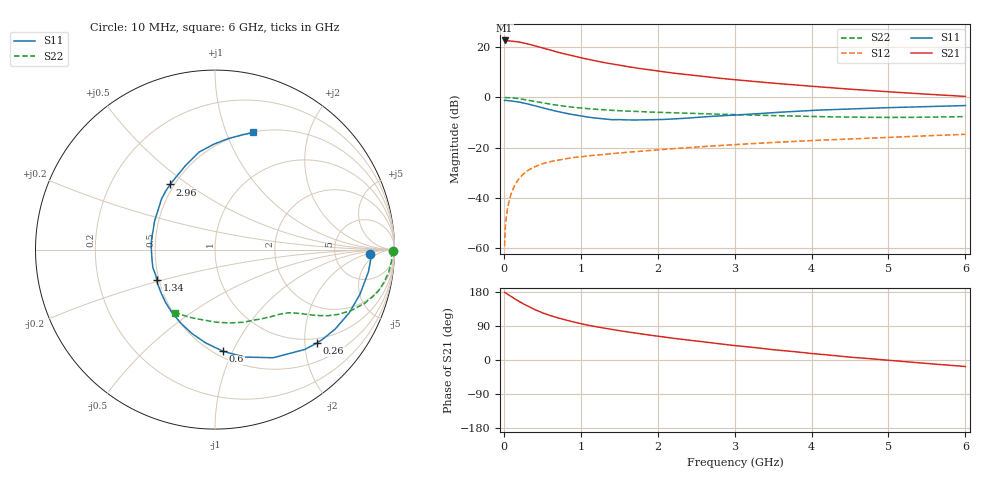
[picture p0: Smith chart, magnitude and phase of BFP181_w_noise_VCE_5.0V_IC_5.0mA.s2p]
! Infineon Technologies  Discrete & RF Semiconductors
! BFP181
! VCE = 5.0 V,  IC =  5.0 mA
! Common Emitter S-Parameters:  Jan 2016
# GHz  S  MA  R  50
!  f  S11  S21  S12  S22
! GHz  MAG  ANG  MAG  ANG  MAG  ANG  MAG  ANG
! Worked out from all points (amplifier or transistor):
!   210 points, 10 MHz to 6 GHz, reference 50 ohm
!   highest |S21| = 22.6 dB at 10 MHz (marker M1)
!   |S21| within 3 dB of that: start of sweep to 505.3 MHz
!   unconditionally stable (mu >= 1): 1.758 GHz to end of sweep
!   at 185 MHz: K = 0.16, MSG = 27.4 dB, |S12| = -32.8 dB
!   at 1.52 GHz: K = 0.93, MSG = 17.4 dB, |S12| = -22.1 dB
!   at 6 GHz: K = 1.05, MAG = 6.2 dB, |S12| = -14.7 dB
!   lowest NFmin = 1.55 dB at 450 MHz
!   S11 on the Smith chart (normalised r, x): 10 MHz: 13, -3; 260 MHz: 0.89, -2.28; 600 MHz: 0.55, -0.92; 1.34 GHz: 0.49, -0.19; 2.96 GHz: 0.48, +0.43; 6 GHz: 0.51, +1.25
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0.01  0.8614 -1.8  13.48 178.3  0.0011 86.7  0.9911 -0.6
0.02  0.8701 -3.3  13.4 177.5  0.0027 77.3  0.9838 -1.4
0.03  0.8673 -4.9  13.37 176.1  0.0039 83.2  0.9844 -2.2
0.08  0.8504 -13.4  13.17 169.5  0.0102 81.1  0.9794 -5.9
0.15  0.8271 -25.1  12.82 160.4  0.0187 75.8  0.9599 -10.9
0.19  0.8062 -31.8  12.6 155.5  0.0233 73.4  0.9429 -13.5
0.26  0.7706 -42.5  11.97 147.4  0.0304 67.7  0.9061 -17.7
0.4  0.6843 -61.7  10.61 133.2  0.0415 59.0  0.8301 -24.2
0.5  0.6213 -74.5  9.593 124.6  0.0477 54.2  0.7779 -27.6
0.6  0.5683 -85.5  8.755 117.4  0.0526 50.4  0.7315 -30.2
0.7  0.5213 -96.0  7.868 111.2  0.0562 47.9  0.6921 -32.1
0.8  0.4842 -105.6  7.24 105.6  0.0598 46.0  0.6614 -33.5
1.02  0.4195 -126.2  6.021 95.0  0.0661 43.0  0.608 -36.1
1.34  0.3665 -152.1  4.791 82.9  0.0742 40.4  0.5583 -39.2
1.68  0.3538 -175.8  3.915 71.9  0.0826 39.1  0.5264 -42.6
2.02  0.3603 163.5  3.294 62.3  0.0908 37.6  0.5025 -46.4
2.4  0.3873 144.6  2.799 52.4  0.1002 36.3  0.4818 -51.3
2.96  0.4404 124.5  2.271 39.0  0.1136 33.5  0.4533 -59.5
3.1  0.4525 120.2  2.169 36.2  0.117 32.8  0.447 -61.8
4.1  0.5575 97.3  1.614 15.4  0.1402 27.1  0.4136 -80.5
5.1  0.6285 81.9  1.259 -2.5  0.1617 21.2  0.3979 -102.0
6  0.6861 72.0  1.042 -17.2  0.1837 15.3  0.4143 -122.1
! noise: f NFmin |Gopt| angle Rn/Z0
0.45  1.55  0.48  17  0.36
0.9  1.65  0.4  35  0.34
1.8  2  0.18  88  0.34
